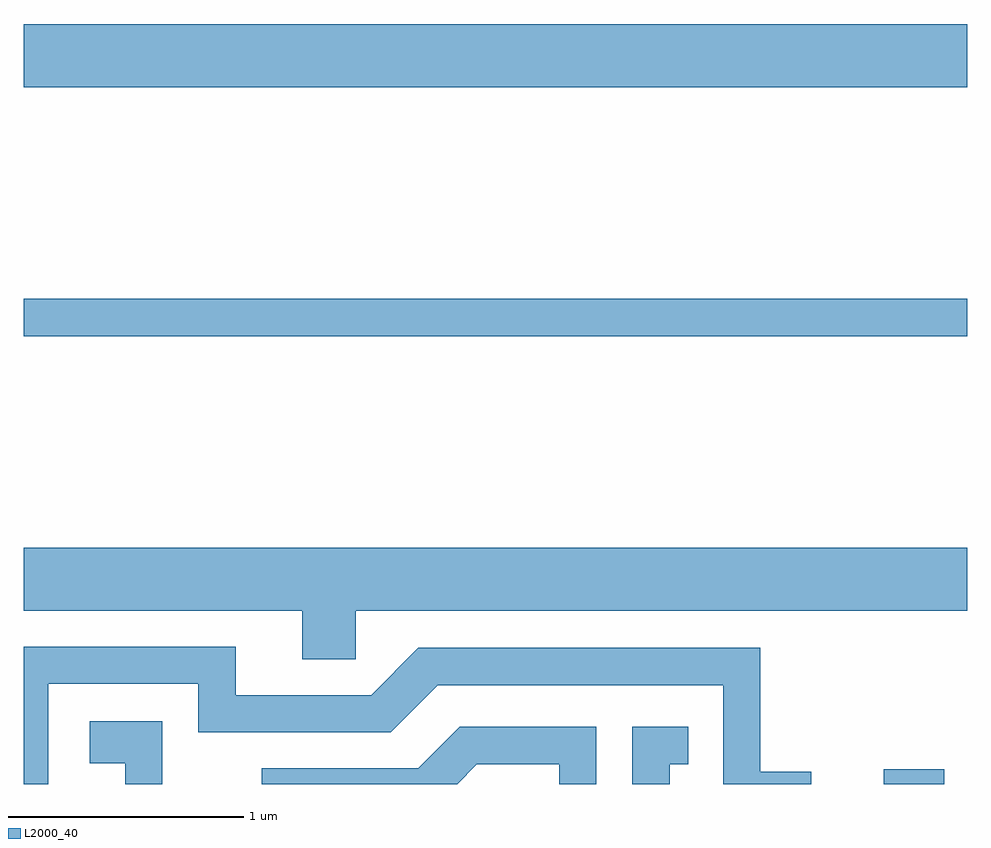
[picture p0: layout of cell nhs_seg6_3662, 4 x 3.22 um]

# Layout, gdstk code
import gdstk
lib = gdstk.Library(unit=1e-6, precision=1e-09)
def R(c, l, rs):  # rectangles x0, y0, x1, y1
    for r in rs: c.add(gdstk.rectangle(r[:2], r[2:], *l))
def P(c, l, *ps):  # polygons
    for p in ps: c.add(gdstk.Polygon(p, *l))
L2000_40 = (2000, 40)

nhs_seg6_3662 = lib.new_cell('nhs_seg6_3662')
R(nhs_seg6_3662, L2000_40, [(299.256,1578.162,299.514,1578.224), (295.611,1580.061,299.611,1580.219), (295.611,1581.116,299.611,1581.384)])
P(nhs_seg6_3662, L2000_40, [(297.019,1578.896),(299.611,1578.896),(299.611,1579.164),(295.611,1579.164),(295.611,1578.896),(296.791,1578.896),(296.791,1578.691),(297.019,1578.691)],
  [(295.714,1578.586),(296.351,1578.586),(296.351,1578.381),(297.167,1578.381),(297.367,1578.581),(298.576,1578.581),(298.576,1578.162),(298.949,1578.162),(298.949,1578.214),(298.734,1578.214),(298.734,1578.739),(297.284,1578.739),(297.084,1578.539),(296.509,1578.539),(296.509,1578.744),(295.611,1578.744),(295.611,1578.162),(295.714,1578.162)],
  [(296.199,1578.429),(295.891,1578.429),(295.891,1578.251),(296.041,1578.251),(296.041,1578.162),(296.199,1578.162)],
  [(297.532,1578.246),(297.881,1578.246),(297.881,1578.162),(298.039,1578.162),(298.039,1578.404),(297.459,1578.404),(297.284,1578.229),(296.621,1578.229),(296.621,1578.162),(297.448,1578.162)],
  [(298.349,1578.246),(298.428,1578.246),(298.428,1578.404),(298.191,1578.404),(298.191,1578.162),(298.349,1578.162)])

lib.write_gds('nhs_seg6_3662.gds')
